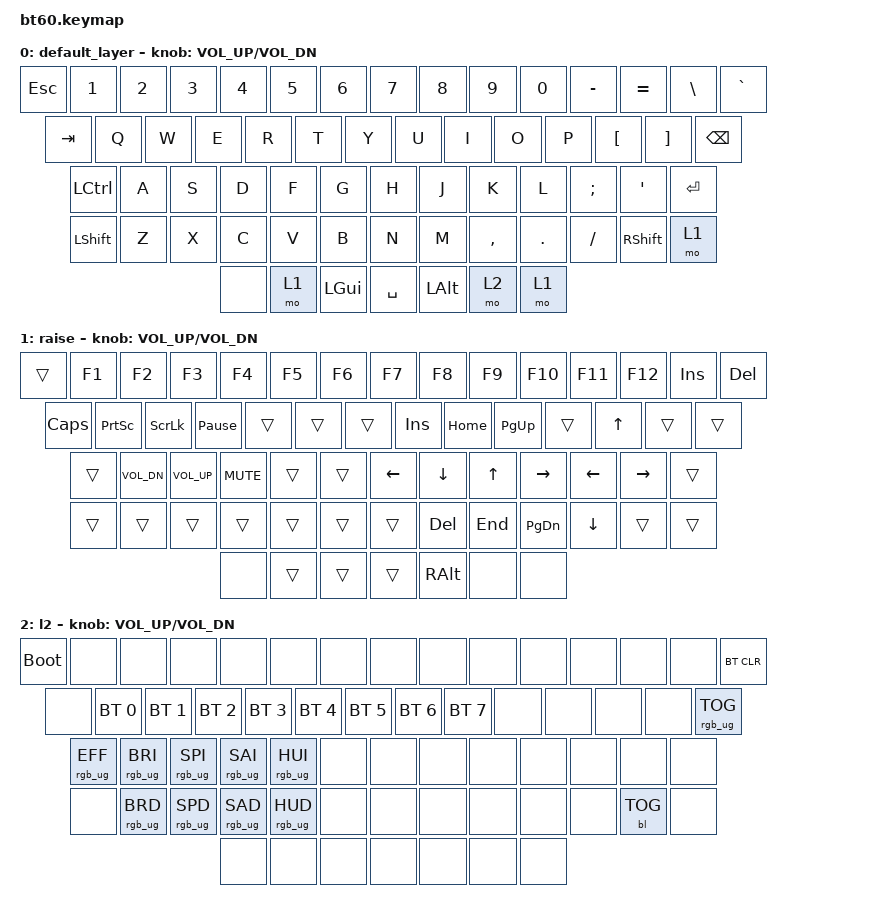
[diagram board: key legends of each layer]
#include <behaviors.dtsi>
#include <dt-bindings/zmk/keys.h>
#include <dt-bindings/zmk/bt.h>
#include <dt-bindings/zmk/rgb.h>
#include <dt-bindings/zmk/backlight.h>

/ {
	keymap {
		compatible = "zmk,keymap";

		default_layer {
				// ------------------------------------------------------------------------------------------
				// |  `  |  1  |  2  |  3  |  4  |  5  |  6  |  7  |  8  |  9  |  0  |  -  |  =  |   BKSP
				// | TAB  |  Q  |  W  |  E  |  R  |  T  |  Y  |  U  |  I  |  O  |  P  |  [  |  ]  |   |
				// | CAPS  |  A  |  S  |  D  |  F  |  G  |  H  |  J  |  K  |  L  |  ;  |  '  |     ENTER
				// |  SHIFT    |  Z  |  X  |  C  |  V  |  B  |  N  |  M  |  ,  |  .  | /   |      SHIFT
				// |  CTL  |  WIN  |  ALT  |            SPACE               | ALT | 1    |  MENU    |  CTRL
				// ------------------------------------------------------------------------------------------
			bindings = <
      &kp ESC &kp N1 &kp N2 &kp N3 &kp N4 &kp N5 &kp N6 &kp N7 &kp N8 &kp N9 &kp N0 &kp MINUS &kp EQUAL &kp BSLH &kp GRAVE
      &kp TAB &kp Q &kp W &kp E &kp R &kp T &kp Y &kp U &kp I &kp O &kp P &kp LBKT &kp RBKT &kp BSPC
      &kp LCTRL &kp A &kp S &kp D &kp F &kp G &kp H &kp J &kp K &kp L &kp SEMI &kp SQT &kp RET
      &kp LSHFT &kp Z &kp X &kp C &kp V &kp B &kp N &kp M &kp COMMA &kp DOT &kp FSLH &kp RSHFT &mo 1
      &none &mo 1 &kp LGUI &kp SPACE &kp LALT &mo 2 &mo 1
			>;
			sensor-bindings = <&inc_dec_kp C_VOL_UP C_VOL_DN>;
		};
		raise {
			bindings = <
      &trans &kp F1 &kp F2 &kp F3 &kp F4 &kp F5 &kp F6 &kp F7 &kp F8 &kp F9 &kp F10 &kp F11 &kp F12 &kp INS &kp DEL
      &kp CAPS &kp PSCRN &kp SLCK &kp PAUSE_BREAK &trans &trans &trans &kp INS &kp HOME &kp PG_UP &trans &kp UP &trans &trans
      &trans &kp C_VOL_DN &kp C_VOL_UP &kp C_MUTE &trans &trans &kp LEFT &kp DOWN &kp UP &kp RIGHT &kp LEFT &kp RIGHT &trans
      &trans &trans &trans &trans &trans &trans &trans &kp DEL &kp END &kp PG_DN &kp DOWN &trans &trans
      &none &trans &trans &trans &kp RALT &none &none
			>;
			sensor-bindings = <&inc_dec_kp C_VOL_UP C_VOL_DN>;
		};
		l2 {
			bindings = <
      &bootloader &none &none &none &none &none &none &none &none &none &none &none &none &none &bt BT_CLR
      &none &bt BT_SEL 0 &bt BT_SEL 1 &bt BT_SEL 2 &bt BT_SEL 3 &bt BT_SEL 4 &bt BT_SEL 5 &bt BT_SEL 6 &bt BT_SEL 7 &none &none &none &none &rgb_ug RGB_TOG
      &rgb_ug RGB_EFF &rgb_ug RGB_BRI &rgb_ug RGB_SPI &rgb_ug RGB_SAI &rgb_ug RGB_HUI &none &none &none &none &none &none &none &none
      &none &rgb_ug RGB_BRD &rgb_ug RGB_SPD &rgb_ug RGB_SAD &rgb_ug RGB_HUD &none &none &none &none &none &none &bl BL_TOG &none
      &none &none &none &none &none &none &none
			>;
			sensor-bindings = <&inc_dec_kp C_VOL_UP C_VOL_DN>;
		};
	};
};
